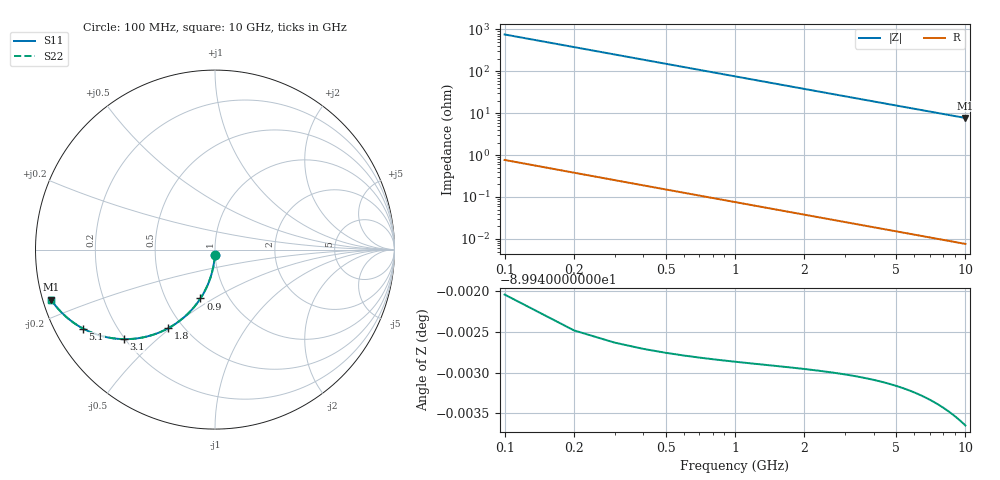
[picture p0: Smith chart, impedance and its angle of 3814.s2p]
# Hz S RI R 50.00
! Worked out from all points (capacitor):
!   100 points, 100 MHz to 10 GHz, reference 50 ohm
!   read as one part in shunt: C = 2.1 pF near 100 MHz
!   lowest |Z| = 7.72 ohm at 10 GHz (marker M1)
!   S11 on the Smith chart (normalised r, x): 100 MHz: 1.00, -0.07; 900 MHz: 0.74, -0.44; 1.8 GHz: 0.42, -0.49; 3.1 GHz: 0.20, -0.40; 5.1 GHz: 0.08, -0.27; 10 GHz: 0.02, -0.15
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1e8  -0.00111 -0.0329  0.9989 -0.0329  0.9989 -0.0329  -0.00111 -0.0329
2e8  -0.00438 -0.0655  0.9956 -0.0656  0.9956 -0.0656  -0.00438 -0.0655
3e8  -0.00975 -0.0977  0.9902 -0.0978  0.9902 -0.0978  -0.00975 -0.0977
4e8  -0.0172 -0.1293  0.9828 -0.1295  0.9828 -0.1295  -0.0172 -0.1293
5e8  -0.0265 -0.1601  0.9735 -0.1603  0.9735 -0.1603  -0.0265 -0.1601
6e8  -0.0377 -0.1899  0.9623 -0.1901  0.9623 -0.1901  -0.0377 -0.1899
7e8  -0.0506 -0.2185  0.9494 -0.2188  0.9494 -0.2188  -0.0506 -0.2185
9e8  -0.0808 -0.2719  0.9192 -0.2722  0.9192 -0.2722  -0.0808 -0.2719
1.1e9  -0.1159 -0.3195  0.884 -0.3199  0.884 -0.3199  -0.1159 -0.3195
1.3e9  -0.1547 -0.3609  0.8453 -0.3613  0.8453 -0.3613  -0.1547 -0.3609
1.5e9  -0.1957 -0.396  0.8043 -0.3965  0.8043 -0.3965  -0.1957 -0.396
1.8e9  -0.2592 -0.4374  0.7408 -0.438  0.7408 -0.438  -0.2592 -0.4374
2.1e9  -0.3223 -0.4665  0.6777 -0.4673  0.6777 -0.4673  -0.3223 -0.4665
2.4e9  -0.3829 -0.4851  0.6171 -0.486  0.6171 -0.486  -0.3829 -0.4851
3.1e9  -0.5079 -0.4989  0.4921 -0.5  0.4921 -0.5  -0.5079 -0.4989
3.4e9  -0.5536 -0.496  0.4464 -0.4973  0.4464 -0.4973  -0.5536 -0.496
4.2e9  -0.6536 -0.4745  0.3464 -0.4761  0.3464 -0.4761  -0.6536 -0.4745
5.1e9  -0.7351 -0.4398  0.2649 -0.4417  0.2649 -0.4417  -0.7351 -0.4398
5.9e9  -0.7875 -0.4074  0.2125 -0.4097  0.2125 -0.4097  -0.7875 -0.4074
6.7e9  -0.8267 -0.3767  0.1732 -0.3792  0.1732 -0.3792  -0.8267 -0.3767
8.4e9  -0.8821 -0.3204  0.1179 -0.3236  0.1179 -0.3236  -0.8821 -0.3204
1e10  -0.9137 -0.2784  0.0863 -0.2823  0.0863 -0.2823  -0.9137 -0.2784
